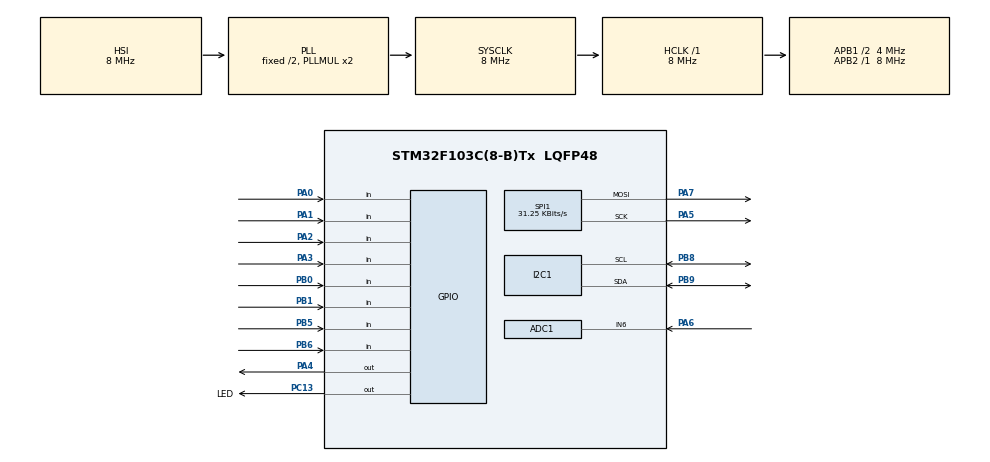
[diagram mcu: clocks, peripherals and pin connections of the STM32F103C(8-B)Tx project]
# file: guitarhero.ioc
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ADC1.Channel-1\#ChannelRegularConversion=ADC_CHANNEL_6
ADC1.ContinuousConvMode=DISABLE
ADC1.ExternalTrigConv=ADC_EXTERNALTRIGCONV_T3_TRGO
ADC1.NbrOfConversionFlag=1
ADC1.Rank-1\#ChannelRegularConversion=1
ADC1.SamplingTime-1\#ChannelRegularConversion=ADC_SAMPLETIME_1CYCLE_5
ADC1.master=1
Dma.ADC1.0.Direction=DMA_PERIPH_TO_MEMORY
Dma.ADC1.0.Instance=DMA1_Channel1
Dma.ADC1.0.MemDataAlignment=DMA_MDATAALIGN_HALFWORD
Dma.ADC1.0.MemInc=DMA_MINC_ENABLE
Dma.ADC1.0.Mode=DMA_CIRCULAR
Dma.ADC1.0.PeriphDataAlignment=DMA_PDATAALIGN_HALFWORD
Dma.ADC1.0.PeriphInc=DMA_PINC_DISABLE
Dma.ADC1.0.Priority=DMA_PRIORITY_LOW
Dma.Request0=ADC1
Mcu.Family=STM32F1
Mcu.Name=STM32F103C(8-B)Tx
Mcu.Package=LQFP48
NVIC.DMA1_Channel1_IRQn=true\:0\:0\:false\:false\:true\:false\:true\:true
NVIC.PriorityGroup=NVIC_PRIORITYGROUP_4
PA0-WKUP.Signal=GPIO_Input
PA1.Signal=GPIO_Input
PA13.Mode=Serial_Wire
PA13.Signal=SYS_JTMS-SWDIO
PA14.Mode=Serial_Wire
PA14.Signal=SYS_JTCK-SWCLK
PA2.Signal=GPIO_Input
PA3.Signal=GPIO_Input
PA4.Signal=GPIO_Output
PA5.Mode=TX_Only_Simplex_Unidirect_Master
PA5.Signal=SPI1_SCK
PA6.Signal=ADCx_IN6
PA7.Mode=TX_Only_Simplex_Unidirect_Master
PA7.Signal=SPI1_MOSI
PB0.Signal=GPIO_Input
PB1.Signal=GPIO_Input
PB5.Signal=GPIO_Input
PB6.Signal=GPIO_Input
PB8.Mode=I2C
PB8.Signal=I2C1_SCL
PB9.Mode=I2C
PB9.Signal=I2C1_SDA
PC13-TAMPER-RTC.GPIO_Label=LED
PC13-TAMPER-RTC.Signal=GPIO_Output
PD0-OSC_IN.Signal=RCC_OSC_IN
PD1-OSC_OUT.Signal=RCC_OSC_OUT
ProjectManager.HeapSize=0x200
ProjectManager.StackSize=0x400
ProjectManager.TargetToolchain=STM32CubeIDE
RCC.AHBFreq_Value=8000000
RCC.APB1CLKDivider=RCC_HCLK_DIV2
RCC.APB1Freq_Value=4000000
RCC.APB1TimFreq_Value=8000000
RCC.APB2Freq_Value=8000000
RCC.APB2TimFreq_Value=8000000
RCC.HCLKFreq_Value=8000000
RCC.SYSCLKFreq_VALUE=8000000
RCC.SYSCLKSource=RCC_SYSCLKSOURCE_PLLCLK
RCC.USBFreq_Value=8000000
SH.ADCx_IN6.0=ADC1_IN6,IN6
SPI1.BaudRatePrescaler=SPI_BAUDRATEPRESCALER_256
SPI1.CalculateBaudRate=31.25 KBits/s
SPI1.Direction=SPI_DIRECTION_2LINES
SPI1.Mode=SPI_MODE_MASTER
SPI1.VirtualType=VM_MASTER
TIM3.Period=999
TIM3.TIM_MasterOutputTrigger=TIM_TRGO_UPDATE
VP_TIM3_VS_ClockSourceINT.Mode=Internal
board=custom

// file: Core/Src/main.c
/* USER CODE BEGIN Header */
/**
  ******************************************************************************
  * @file           : main.c
  * @brief          : Main program body
  ******************************************************************************
  * @attention
  *
  * Copyright (c) 2026 STMicroelectronics.
  * All rights reserved.
  *
  * This software is licensed under terms that can be found in the LICENSE file
  * in the root directory of this software component.
  * If no LICENSE file comes with this software, it is provided AS-IS.
  *
  ******************************************************************************
  */
/* USER CODE END Header */
#include "main.h"

/* USER CODE BEGIN Includes */
#include "max7219.h"
#include "buttons.h"
#include "audio.h"
#include "game.h"
#include "scoreboard.h"
/* USER CODE END Includes */

ADC_HandleTypeDef hadc1;
DMA_HandleTypeDef hdma_adc1;

I2C_HandleTypeDef hi2c1;

SPI_HandleTypeDef hspi1;

TIM_HandleTypeDef htim3;

void SystemClock_Config(void);
static void MX_GPIO_Init(void);
static void MX_DMA_Init(void);
static void MX_SPI1_Init(void);
static void MX_ADC1_Init(void);
static void MX_TIM3_Init(void);
static void MX_I2C1_Init(void);

int main(void)
{

  /* MCU Configuration--------------------------------------------------------*/

  /* Reset of all peripherals, Initializes the Flash interface and the Systick. */
  HAL_Init();

  /* Configure the system clock */
  SystemClock_Config();

  /* Initialize all configured peripherals */
  MX_GPIO_Init();
  MX_DMA_Init();
  MX_SPI1_Init();
  MX_ADC1_Init();
  MX_TIM3_Init();
  MX_I2C1_Init();

  /* USER CODE BEGIN 2 */
  MAX7219_Init(&hspi1);
  Buttons_Init();
  Game_Init(&hspi1, &hadc1);
  Scoreboard_Init(&hi2c1);
  HAL_TIM_Base_Start(&htim3);
  /* USER CODE END 2 */

  /* Infinite loop */
  /* USER CODE BEGIN WHILE */
  while (1)
  {
	  Game_Update(&hspi1);
	  Scoreboard_Update(&hi2c1);

  }
  /* USER CODE END 3 */
}

void SystemClock_Config(void)
{
  RCC_OscInitTypeDef RCC_OscInitStruct = {0};
  RCC_ClkInitTypeDef RCC_ClkInitStruct = {0};
  RCC_PeriphCLKInitTypeDef PeriphClkInit = {0};

  /** Initializes the RCC Oscillators according to the specified parameters
  * in the RCC_OscInitTypeDef structure.
  */
  RCC_OscInitStruct.OscillatorType = RCC_OSCILLATORTYPE_HSI;
  RCC_OscInitStruct.HSIState = RCC_HSI_ON;
  RCC_OscInitStruct.HSICalibrationValue = RCC_HSICALIBRATION_DEFAULT;
  RCC_OscInitStruct.PLL.PLLState = RCC_PLL_ON;
  RCC_OscInitStruct.PLL.PLLSource = RCC_PLLSOURCE_HSI_DIV2;
  RCC_OscInitStruct.PLL.PLLMUL = RCC_PLL_MUL2;
  if (HAL_RCC_OscConfig(&RCC_OscInitStruct) != HAL_OK)
  {
    Error_Handler();
  }

  /** Initializes the CPU, AHB and APB buses clocks
  */
  RCC_ClkInitStruct.ClockType = RCC_CLOCKTYPE_HCLK|RCC_CLOCKTYPE_SYSCLK
                              |RCC_CLOCKTYPE_PCLK1|RCC_CLOCKTYPE_PCLK2;
  RCC_ClkInitStruct.SYSCLKSource = RCC_SYSCLKSOURCE_PLLCLK;
  RCC_ClkInitStruct.AHBCLKDivider = RCC_SYSCLK_DIV1;
  RCC_ClkInitStruct.APB1CLKDivider = RCC_HCLK_DIV2;
  RCC_ClkInitStruct.APB2CLKDivider = RCC_HCLK_DIV1;

  if (HAL_RCC_ClockConfig(&RCC_ClkInitStruct, FLASH_LATENCY_0) != HAL_OK)
  {
    Error_Handler();
  }
  PeriphClkInit.PeriphClockSelection = RCC_PERIPHCLK_ADC;
  PeriphClkInit.AdcClockSelection = RCC_ADCPCLK2_DIV2;
  if (HAL_RCCEx_PeriphCLKConfig(&PeriphClkInit) != HAL_OK)
  {
    Error_Handler();
  }
}

static void MX_ADC1_Init(void)
{

  ADC_ChannelConfTypeDef sConfig = {0};

  /** Common config
  */
  hadc1.Instance = ADC1;
  hadc1.Init.ScanConvMode = ADC_SCAN_DISABLE;
  hadc1.Init.ContinuousConvMode = DISABLE;
  hadc1.Init.DiscontinuousConvMode = DISABLE;
  hadc1.Init.ExternalTrigConv = ADC_EXTERNALTRIGCONV_T3_TRGO;
  hadc1.Init.DataAlign = ADC_DATAALIGN_RIGHT;
  hadc1.Init.NbrOfConversion = 1;
  if (HAL_ADC_Init(&hadc1) != HAL_OK)
  {
    Error_Handler();
  }

  /** Configure Regular Channel
  */
  sConfig.Channel = ADC_CHANNEL_6;
  sConfig.Rank = ADC_REGULAR_RANK_1;
  sConfig.SamplingTime = ADC_SAMPLETIME_1CYCLE_5;
  if (HAL_ADC_ConfigChannel(&hadc1, &sConfig) != HAL_OK)
  {
    Error_Handler();
  }
  /* USER CODE BEGIN ADC1_Init 2 */
    hdma_adc1.Instance = DMA1_Channel1;
    hdma_adc1.Init.Direction = DMA_PERIPH_TO_MEMORY;
    hdma_adc1.Init.PeriphInc = DMA_PINC_DISABLE;
    hdma_adc1.Init.MemInc = DMA_MINC_ENABLE;
    hdma_adc1.Init.PeriphDataAlignment = DMA_PDATAALIGN_HALFWORD;
    hdma_adc1.Init.MemDataAlignment = DMA_MDATAALIGN_HALFWORD;
    hdma_adc1.Init.Mode = DMA_CIRCULAR;
    hdma_adc1.Init.Priority = DMA_PRIORITY_LOW;
    if (HAL_DMA_Init(&hdma_adc1) != HAL_OK)
    {
      Error_Handler();
    }

    __HAL_LINKDMA(&hadc1, DMA_Handle, hdma_adc1);
  /* USER CODE END ADC1_Init 2 */

}

static void MX_I2C1_Init(void)
{

  hi2c1.Instance = I2C1;
  hi2c1.Init.ClockSpeed = 400000;
  hi2c1.Init.DutyCycle = I2C_DUTYCYCLE_2;
  hi2c1.Init.OwnAddress1 = 0;
  hi2c1.Init.AddressingMode = I2C_ADDRESSINGMODE_7BIT;
  hi2c1.Init.DualAddressMode = I2C_DUALADDRESS_DISABLE;
  hi2c1.Init.OwnAddress2 = 0;
  hi2c1.Init.GeneralCallMode = I2C_GENERALCALL_DISABLE;
  hi2c1.Init.NoStretchMode = I2C_NOSTRETCH_DISABLE;
  if (HAL_I2C_Init(&hi2c1) != HAL_OK)
  {
    Error_Handler();
  }

}

static void MX_SPI1_Init(void)
{

  /* SPI1 parameter configuration*/
  hspi1.Instance = SPI1;
  hspi1.Init.Mode = SPI_MODE_MASTER;
  hspi1.Init.Direction = SPI_DIRECTION_2LINES;
  hspi1.Init.DataSize = SPI_DATASIZE_8BIT;
  hspi1.Init.CLKPolarity = SPI_POLARITY_LOW;
  hspi1.Init.CLKPhase = SPI_PHASE_1EDGE;
  hspi1.Init.NSS = SPI_NSS_SOFT;
  hspi1.Init.BaudRatePrescaler = SPI_BAUDRATEPRESCALER_256;
  hspi1.Init.FirstBit = SPI_FIRSTBIT_MSB;
  hspi1.Init.TIMode = SPI_TIMODE_DISABLE;
  hspi1.Init.CRCCalculation = SPI_CRCCALCULATION_DISABLE;
  hspi1.Init.CRCPolynomial = 10;
  if (HAL_SPI_Init(&hspi1) != HAL_OK)
  {
    Error_Handler();
  }

}

static void MX_TIM3_Init(void)
{

  TIM_ClockConfigTypeDef sClockSourceConfig = {0};
  TIM_MasterConfigTypeDef sMasterConfig = {0};

  htim3.Instance = TIM3;
  htim3.Init.Prescaler = 0;
  htim3.Init.CounterMode = TIM_COUNTERMODE_UP;
  htim3.Init.Period = 999;
  htim3.Init.ClockDivision = TIM_CLOCKDIVISION_DIV1;
  htim3.Init.AutoReloadPreload = TIM_AUTORELOAD_PRELOAD_DISABLE;
  if (HAL_TIM_Base_Init(&htim3) != HAL_OK)
  {
    Error_Handler();
  }
  sClockSourceConfig.ClockSource = TIM_CLOCKSOURCE_INTERNAL;
  if (HAL_TIM_ConfigClockSource(&htim3, &sClockSourceConfig) != HAL_OK)
  {
    Error_Handler();
  }
  sMasterConfig.MasterOutputTrigger = TIM_TRGO_UPDATE;
  sMasterConfig.MasterSlaveMode = TIM_MASTERSLAVEMODE_DISABLE;
  if (HAL_TIMEx_MasterConfigSynchronization(&htim3, &sMasterConfig) != HAL_OK)
  {
    Error_Handler();
  }

}

static void MX_DMA_Init(void)
{

  /* DMA controller clock enable */
  __HAL_RCC_DMA1_CLK_ENABLE();

  /* DMA interrupt init */
  /* DMA1_Channel1_IRQn interrupt configuration */
  HAL_NVIC_SetPriority(DMA1_Channel1_IRQn, 0, 0);
  HAL_NVIC_EnableIRQ(DMA1_Channel1_IRQn);

}

static void MX_GPIO_Init(void)
{
  GPIO_InitTypeDef GPIO_InitStruct = {0};

  /* GPIO Ports Clock Enable */
  __HAL_RCC_GPIOC_CLK_ENABLE();
  __HAL_RCC_GPIOD_CLK_ENABLE();
  __HAL_RCC_GPIOA_CLK_ENABLE();
  __HAL_RCC_GPIOB_CLK_ENABLE();

  /*Configure GPIO pin Output Level */
  HAL_GPIO_WritePin(LED_GPIO_Port, LED_Pin, GPIO_PIN_RESET);

  /*Configure GPIO pin Output Level */
  HAL_GPIO_WritePin(GPIOA, GPIO_PIN_4, GPIO_PIN_RESET);

  /*Configure GPIO pin : LED_Pin */
  GPIO_InitStruct.Pin = LED_Pin;
  GPIO_InitStruct.Mode = GPIO_MODE_OUTPUT_PP;
  GPIO_InitStruct.Pull = GPIO_NOPULL;
  GPIO_InitStruct.Speed = GPIO_SPEED_FREQ_LOW;
  HAL_GPIO_Init(LED_GPIO_Port, &GPIO_InitStruct);

  /*Configure GPIO pins : PA0 PA1 PA2 PA3 */
  GPIO_InitStruct.Pin = GPIO_PIN_0|GPIO_PIN_1|GPIO_PIN_2|GPIO_PIN_3;
  GPIO_InitStruct.Mode = GPIO_MODE_INPUT;
  GPIO_InitStruct.Pull = GPIO_NOPULL;
  HAL_GPIO_Init(GPIOA, &GPIO_InitStruct);

  /*Configure GPIO pin : PA4 */
  GPIO_InitStruct.Pin = GPIO_PIN_4;
  GPIO_InitStruct.Mode = GPIO_MODE_OUTPUT_PP;
  GPIO_InitStruct.Pull = GPIO_NOPULL;
  GPIO_InitStruct.Speed = GPIO_SPEED_FREQ_LOW;
  HAL_GPIO_Init(GPIOA, &GPIO_InitStruct);

  /*Configure GPIO pins : PB0 PB1 PB5 PB6 */
  GPIO_InitStruct.Pin = GPIO_PIN_0|GPIO_PIN_1|GPIO_PIN_5|GPIO_PIN_6;
  GPIO_InitStruct.Mode = GPIO_MODE_INPUT;
  GPIO_InitStruct.Pull = GPIO_NOPULL;
  HAL_GPIO_Init(GPIOB, &GPIO_InitStruct);

}

void Error_Handler(void)
{
  __disable_irq();
  while (1)
  {
  }
}
